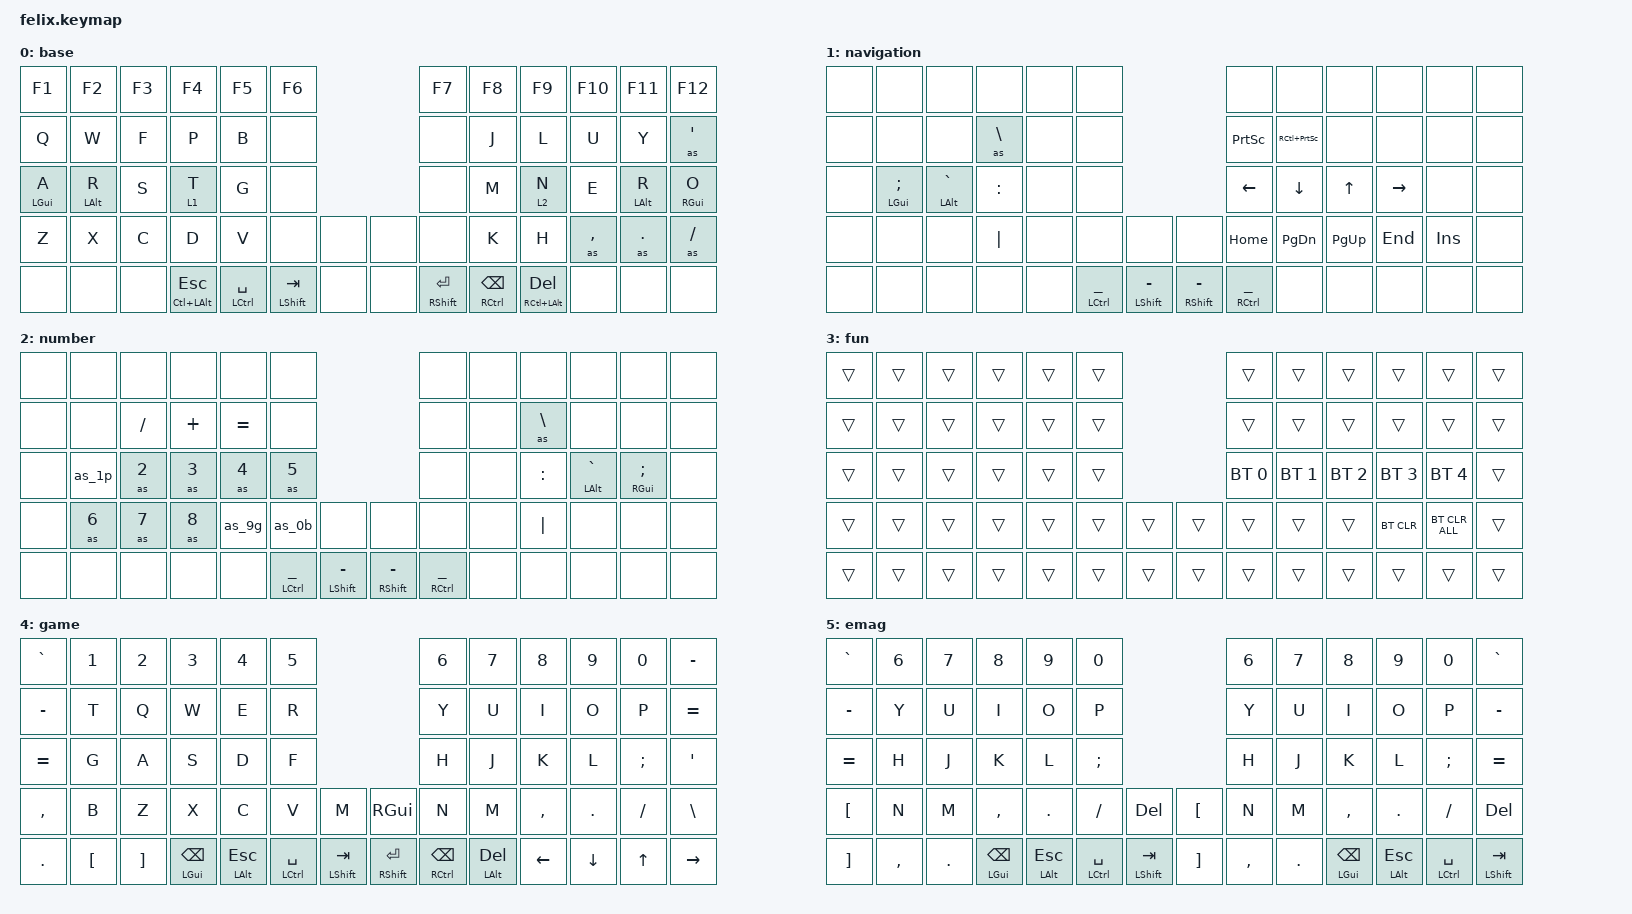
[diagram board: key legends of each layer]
#include <dt-bindings/zmk/mouse.h>
#include <behaviors.dtsi>
#include <dt-bindings/zmk/bt.h>
#include <dt-bindings/zmk/keys.h>

&caps_word { continue-list = <UNDERSCORE MINUS>; };

&lt {
    tapping-term-ms = <150>;
    quick-tap-ms = <200>;
    flavor = "balanced";
    require-prior-idle-ms = <125>;
};

&mt {
    tapping-term-ms = <150>;
    quick-tap-ms = <200>;
    flavor = "balanced";
    require-prior-idle-ms = <125>;
};

/ {
    behaviors {
        hml: home_row_mod_left {
            display-name = "Home Row Mod (Left)";
            compatible = "zmk,behavior-hold-tap";
            #binding-cells = <2>;
            bindings = <&kp>, <&kp>;

            tapping-term-ms = <280>;
            quick-tap-ms = <175>;
            require-prior-idle-ms = <150>;
            flavor = "balanced";
            hold-trigger-on-release;
            hold-trigger-key-positions = <5 7 6 8 9 19 30 31 18 17 16 15 26 28 27 29 37 36 35 34 33 32>;
        };

        hmr: home_row_mod_right {
            display-name = "Home Row Mod (Right)";
            compatible = "zmk,behavior-hold-tap";
            bindings = <&kp>, <&kp>;

            #binding-cells = <2>;
            tapping-term-ms = <280>;
            quick-tap-ms = <175>;
            require-prior-idle-ms = <150>;
            flavor = "balanced";
            hold-trigger-on-release;
            hold-trigger-key-positions = <0 1 2 3 4 14 13 12 11 10 20 21 22 23 24 25 32 33 34 35 36 37>;
        };

        hll: home_row_layer_tap_left {
            compatible = "zmk,behavior-hold-tap";
            bindings = <&mo>, <&kp>;

            #binding-cells = <2>;
            tapping-term-ms = <280>;
            quick-tap-ms = <175>;
            require-prior-idle-ms = <150>;
            flavor = "balanced";
            hold-trigger-on-release;
            hold-trigger-key-positions = <5 6 7 9 31 19 29 18 17 8 16 15 26 27 28 30 37 36 35 34 33 32>;
        };

        hlr: home_row_layer_tap_right {
            compatible = "zmk,behavior-hold-tap";
            bindings = <&mo>, <&kp>;

            #binding-cells = <2>;
            tapping-term-ms = <280>;
            quick-tap-ms = <175>;
            require-prior-idle-ms = <150>;
            flavor = "balanced";
            hold-trigger-on-release;
            hold-trigger-key-positions = <4 3 2 1 0 20 10 11 21 12 13 14 23 22 24 25 32 33 34 35 36 37>;
        };

        mm_cq: mod_morph_cmma_qmark {
            display-name = "Comma-Question Mark";
            compatible = "zmk,behavior-mod-morph";
            #binding-cells = <0>;
            bindings = <&kp COMMA>, <&kp QMARK>;

            mods = <(MOD_LSFT|MOD_RSFT)>;
        };

        mm_cs: mod_morph_colon_semi {
            display-name = "Colon-Semi";
            compatible = "zmk,behavior-mod-morph";
            #binding-cells = <0>;
            bindings = <&kp COLON>, <&kp SEMI>;

            mods = <(MOD_LSFT|MOD_RSFT)>;
        };

        mm_de: mod_morph_dot_excl {
            display-name = "Period-Exclamation Mark";
            compatible = "zmk,behavior-mod-morph";
            #binding-cells = <0>;
            bindings = <&kp DOT>, <&kp EXCL>;

            mods = <(MOD_LSFT|MOD_RSFT)>;
        };

        mm_ft: mod_morph_fslh_tild {
            display-name = "Forward Slash-Tilde";
            compatible = "zmk,behavior-mod-morph";
            #binding-cells = <0>;
            bindings = <&kp FSLH>, <&kp TILDE>;

            mods = <(MOD_LSFT|MOD_RSFT)>;
        };

        mm_1p: mod_morph_n1_pipe {
            display-name = "N1-Pipe";
            compatible = "zmk,behavior-mod-morph";
            #binding-cells = <0>;
            bindings = <&kp N1>, <&kp PIPE>;

            mods = <(MOD_LSFT|MOD_RSFT)>;
        };

        mm_9g: mod_morph_n9_grave {
            display-name = "N9-Grave";
            compatible = "zmk,behavior-mod-morph";
            #binding-cells = <0>;
            bindings = <&kp N9>, <&kp GRAVE>;

            mods = <(MOD_LSFT|MOD_RSFT)>;
        };

        mm_0b: mod_morph_n0_bslh {
            display-name = "N0-Back Slash";
            compatible = "zmk,behavior-mod-morph";
            #binding-cells = <0>;
            bindings = <&kp N0>, <&kp BSLH>;

            mods = <(MOD_LSFT|MOD_RSFT)>;
        };

        mm_ll: mod_morph_lpar_lt {
            display-name = "Left Parentheses-Less Than";
            compatible = "zmk,behavior-mod-morph";
            bindings = <&kp LPAR>, <&kp LT>;

            #binding-cells = <0>;
            mods = <(MOD_LSFT|MOD_RSFT)>;
        };

        mm_rg: mod_morph_rpar_gt {
            display-name = "Right Parentheses-Greater Than";
            compatible = "zmk,behavior-mod-morph";
            bindings = <&kp RPAR>, <&kp GT>;

            #binding-cells = <0>;
            mods = <(MOD_LSFT|MOD_RSFT)>;
        };

        ht_as: hold_tap_autoshift {
            compatible = "zmk,behavior-hold-tap";
            bindings = <&sh>, <&kp>;

            #binding-cells = <2>;
            tapping-term-ms = <150>;
            quick-tap-ms = <0>;
            flavor = "tap-preferred";
        };

        ht_cq: hold_tap_cmma_qmark {
            display-name = "Comma-Question Mark (Hold-Tap)";
            compatible = "zmk,behavior-hold-tap";
            #binding-cells = <2>;
            bindings = <&kp>, <&mm_cq>;

            tapping-term-ms = <150>;
            quick-tap-ms = <0>;
            flavor = "tap-preferred";
        };

        ht_cs: hold_tap_colon_semi {
            display-name = "Colon-Semi (Hold-Tap)";
            compatible = "zmk,behavior-hold-tap";
            #binding-cells = <2>;
            bindings = <&kp>, <&mm_cs>;

            tapping-term-ms = <150>;
            quick-tap-ms = <0>;
            flavor = "tap-preferred";
        };

        ht_de: hold_tap_dot_excl {
            display-name = "Period-Exclamation Mark (Hold-Tap)";
            compatible = "zmk,behavior-hold-tap";
            #binding-cells = <2>;
            bindings = <&kp>, <&mm_de>;

            tapping-term-ms = <150>;
            quick-tap-ms = <0>;
            flavor = "tap-preferred";
        };

        ht_ft: hold_tap_fslh_tild {
            display-name = "Forward Slash-Tilde (Hold-Tap)";
            compatible = "zmk,behavior-hold-tap";
            #binding-cells = <2>;
            bindings = <&kp>, <&mm_ft>;

            tapping-term-ms = <150>;
            quick-tap-ms = <0>;
            flavor = "tap-preferred";
        };

        ht_1p: hold_tap_n1_pipe {
            display-name = "N1-Pipe (Hold-Tap)";
            compatible = "zmk,behavior-hold-tap";
            #binding-cells = <2>;
            bindings = <&kp>, <&mm_1p>;

            tapping-term-ms = <150>;
            quick-tap-ms = <0>;
            flavor = "tap-preferred";
        };

        ht_9g: hold_tap_n9_grave {
            display-name = "N9-Grave (Hold-Tap)";
            compatible = "zmk,behavior-hold-tap";
            #binding-cells = <2>;
            bindings = <&kp>, <&mm_9g>;

            tapping-term-ms = <150>;
            quick-tap-ms = <0>;
            flavor = "tap-preferred";
        };

        ht_0b: hold_tap_n0_bslh {
            display-name = "N0-Back Slash (Hold-Tap)";
            compatible = "zmk,behavior-hold-tap";
            #binding-cells = <2>;
            bindings = <&kp>, <&mm_0b>;

            tapping-term-ms = <150>;
            quick-tap-ms = <0>;
            flavor = "tap-preferred";
        };

        ht_ll: hold_tap_lpar_lt {
            display-name = "Left Parentheses-Less Than (Hold-Tap)";
            compatible = "zmk,behavior-hold-tap";
            #binding-cells = <2>;
            bindings = <&kp>, <&mm_ll>;

            tapping-term-ms = <150>;
            quick-tap-ms = <0>;
            flavor = "tap-preferred";
        };

        ht_rg: hold_tap_rpar_gt {
            display-name = "Right Parentheses-Greater Than (Hold-Tap)";
            compatible = "zmk,behavior-hold-tap";
            #binding-cells = <2>;
            bindings = <&kp>, <&mm_rg>;

            tapping-term-ms = <150>;
            quick-tap-ms = <0>;
            flavor = "tap-preferred";
        };
    };

    macros {
        as: autoshift {
            display-name = "Autoshift";
            compatible = "zmk,behavior-macro-one-param";
            #binding-cells = <1>;
            bindings =
                <&macro_press>,
                <&macro_param_1to1 &macro_param_1to2 &ht_as MACRO_PLACEHOLDER MACRO_PLACEHOLDER>,
                <&macro_pause_for_release>,
                <&macro_release>,
                <&macro_param_1to1 &macro_param_1to2 &ht_as MACRO_PLACEHOLDER MACRO_PLACEHOLDER>;
        };

        sh: shifted_keypress {
            display-name = "Shifted Keypress";
            compatible = "zmk,behavior-macro-one-param";
            #binding-cells = <1>;
            bindings =
                <&macro_press>,
                <&kp LSHFT &macro_param_1to1 &kp MACRO_PLACEHOLDER>,
                <&macro_pause_for_release>,
                <&macro_release>,
                <&macro_param_1to1 &kp MACRO_PLACEHOLDER &kp LSHFT>;
        };

        as_cq: autoshift_cmma_qmark {
            display-name = "Comma-Question Mark (Autoshift)";
            compatible = "zmk,behavior-macro";
            #binding-cells = <0>;
            bindings =
                <&macro_press>,
                <&ht_cq QMARK 0>,
                <&macro_pause_for_release>,
                <&macro_release>,
                <&ht_cq QMARK 0>;
        };

        as_cs: autoshift_colon_semi {
            display-name = "Colon-Semi (Autoshift)";
            compatible = "zmk,behavior-macro";
            #binding-cells = <0>;
            bindings =
                <&macro_press>,
                <&ht_cs SEMI 0>,
                <&macro_pause_for_release>,
                <&macro_release>,
                <&ht_cs SEMI 0>;
        };

        as_de: autoshift_dot_excl {
            display-name = "Period-Exclamation Mark (Autoshift)";
            compatible = "zmk,behavior-macro";
            #binding-cells = <0>;
            bindings =
                <&macro_press>,
                <&ht_de EXCL 0>,
                <&macro_pause_for_release>,
                <&macro_release>,
                <&ht_de EXCL 0>;
        };

        as_ft: autoshift_fslh_tild {
            display-name = "Forward Slash-Tilde (Autoshift)";
            compatible = "zmk,behavior-macro";
            #binding-cells = <0>;
            bindings =
                <&macro_press>,
                <&ht_ft TILDE 0>,
                <&macro_pause_for_release>,
                <&macro_release>,
                <&ht_ft TILDE 0>;
        };

        as_1p: autoshift_n1_pipe {
            display-name = "N1-Pipe (Autoshift)";
            compatible = "zmk,behavior-macro";
            #binding-cells = <0>;
            bindings =
                <&macro_press>,
                <&ht_1p PIPE 0>,
                <&macro_pause_for_release>,
                <&macro_release>,
                <&ht_1p PIPE 0>;
        };

        as_9g: autoshift_n9_grave {
            display-name = "N9-Grave (Autoshift)";
            compatible = "zmk,behavior-macro";
            #binding-cells = <0>;
            bindings =
                <&macro_press>,
                <&ht_9g GRAVE 0>,
                <&macro_pause_for_release>,
                <&macro_release>,
                <&ht_9g GRAVE 0>;
        };

        as_0b: autoshift_n0_bslh {
            display-name = "N0-Back Slash (Autoshift)";
            compatible = "zmk,behavior-macro";
            #binding-cells = <0>;
            bindings =
                <&macro_press>,
                <&ht_0b BSLH 0>,
                <&macro_pause_for_release>,
                <&macro_release>,
                <&ht_0b BSLH 0>;
        };

        as_ll: as_ll {
            compatible = "zmk,behavior-macro";
            display-name = "Left Parentheses-Lest Than (Autoshift)";
            #binding-cells = <0>;
            bindings =
                <&macro_press>,
                <&ht_ll LT 0>,
                <&macro_pause_for_release>,
                <&macro_release>,
                <&ht_ll LT 0>;
        };

        as_rg: autoshift_rpar_gt {
            compatible = "zmk,behavior-macro";
            display-name = "Right Parentheses-Greater Than (Autoshift)";
            #binding-cells = <0>;
            bindings =
                <&macro_press>,
                <&ht_rg GT 0>,
                <&macro_pause_for_release>,
                <&macro_release>,
                <&ht_rg GT 0>;
        };

        qu: qu {
            display-name = "qu";
            compatible = "zmk,behavior-macro";
            #binding-cells = <0>;
            bindings = <&kp Q &kp U>;
        };
    };

    combos {
        compatible = "zmk,combos";

        base {
            bindings = <&to 0>;
            key-positions = <0 1>;
        };

        game {
            bindings = <&to 4>;
            key-positions = <4 5>;
            layers = <0>;
        };

        btctrl_l {
            bindings = <&sl 3>;
            key-positions = <3 2>;
        };

        btctrl_r {
            bindings = <&sl 3>;
            key-positions = <8 9>;
        };

        qu {
            bindings = <&qu>;
            key-positions = <13 14>;
            layers = <0>;
        };

        lbrc {
            bindings = <&kp LBRC>;
            key-positions = <13 25>;
            layers = <0>;
        };

        lbkt {
            bindings = <&kp LBKT>;
            key-positions = <14 26>;
            layers = <0>;
        };

        lpar {
            bindings = <&kp LPAR>;
            key-positions = <15 27>;
            layers = <0>;
        };

        lt {
            bindings = <&kp LT>;
            key-positions = <16 28>;
            layers = <0>;
        };

        gt {
            bindings = <&kp GT>;
            key-positions = <19 31>;
            layers = <0>;
        };

        rpar {
            bindings = <&kp RPAR>;
            key-positions = <20 32>;
            layers = <0>;
        };

        rbkt {
            bindings = <&kp RBKT>;
            key-positions = <21 33>;
            layers = <0>;
        };

        rbrc {
            bindings = <&kp RBRC>;
            key-positions = <22 34>;
            layers = <0>;
        };

        launcher_l {
            bindings = <&kp LG(SPACE)>;
            key-positions = <25 27>;
        };

        launcher_r {
            bindings = <&kp RG(SPACE)>;
            key-positions = <32 34>;
        };

        lpipe {
            bindings = <&kp PIPE>;
            key-positions = <28 40>;
        };

        rpipe {
            bindings = <&kp PIPE>;
            key-positions = <31 45>;
        };

        lbslh {
            bindings = <&kp BSLH>;
            key-positions = <27 39>;
        };

        rbslh {
            bindings = <&kp BSLH>;
            key-positions = <32 46>;
        };
    };

    keymap {
        compatible = "zmk,keymap";

        base {
            display-name = "base";
            bindings = <
&kp F1       &kp F2       &kp F3  &kp F4            &kp F5           &kp F6                           &kp F7         &kp F8          &kp F9            &kp F10    &kp F11      &kp F12
&kp Q        &kp W        &kp F   &kp P             &kp B            &none                            &none          &kp J           &kp L             &kp U      &kp Y        &as APOS
&hml LGUI A  &hml LALT R  &kp S   &hll 1 T          &kp G            &none                            &none          &kp M           &hlr 2 N          &kp E      &hmr LALT R  &hmr RGUI O
&kp Z        &kp X        &kp C   &kp D             &kp V            &none          &none      &none  &none          &kp K           &kp H             &as COMMA  &as DOT      &as FSLH
&none        &none        &none   &mt LC(LALT) ESC  &mt LCTRL SPACE  &mt LSHFT TAB  &none      &none  &mt RSHFT RET  &mt RCTRL BSPC  &mt RC(LALT) DEL  &none      &none        &none
            >;
        };

        nav {
            display-name = "navigation";
            bindings = <
&none  &none           &none            &none      &none  &none                                                  &none            &none          &none      &none      &none    &none
&none  &none           &none            &as BSLH   &none  &none                                                  &kp PSCRN        &kp RC(PSCRN)  &none      &none      &none    &none
&none  &hml LGUI SEMI  &hml LALT GRAVE  &kp COLON  &none  &none                                                  &kp LEFT         &kp DOWN       &kp UP     &kp RIGHT  &none    &none
&none  &none           &none            &kp PIPE   &none  &none            &none                &none            &kp HOME         &kp PG_DN      &kp PG_UP  &kp END    &kp INS  &none
&none  &none           &none            &none      &none  &mt LCTRL UNDER  &mt LSHFT MINUS      &mt RSHFT MINUS  &mt RCTRL UNDER  &none          &none      &none      &none    &none
            >;
        };

        num {
            display-name = "number";
            bindings = <
&none  &none   &none     &none     &none      &none                                                  &none            &none  &none      &none            &none          &none
&none  &none   &kp FSLH  &kp PLUS  &kp EQUAL  &none                                                  &none            &none  &as BSLH   &none            &none          &none
&none  &as_1p  &as N2    &as N3    &as N4     &as N5                                                 &none            &none  &kp COLON  &hmr LALT GRAVE  &mt RGUI SEMI  &none
&none  &as N6  &as N7    &as N8    &as_9g     &as_0b           &none                &none            &none            &none  &kp PIPE   &none            &none          &none
&none  &none   &none     &none     &none      &mt LCTRL UNDER  &mt LSHFT MINUS      &mt RSHFT MINUS  &mt RCTRL UNDER  &none  &none      &none            &none          &none
            >;
        };

        fun {
            display-name = "fun";
            bindings = <
&trans  &trans  &trans  &trans  &trans  &trans                      &trans        &trans        &trans        &trans        &trans          &trans
&trans  &trans  &trans  &trans  &trans  &trans                      &trans        &trans        &trans        &trans        &trans          &trans
&trans  &trans  &trans  &trans  &trans  &trans                      &bt BT_SEL 0  &bt BT_SEL 1  &bt BT_SEL 2  &bt BT_SEL 3  &bt BT_SEL 4    &trans
&trans  &trans  &trans  &trans  &trans  &trans  &trans      &trans  &trans        &trans        &trans        &bt BT_CLR    &bt BT_CLR_ALL  &trans
&trans  &trans  &trans  &trans  &trans  &trans  &trans      &trans  &trans        &trans        &trans        &trans        &trans          &trans
            >;
        };

        game_l {
            display-name = "game";
            bindings = <
&kp GRAVE  &kp N1    &kp N2    &kp N3         &kp N4        &kp N5                                             &kp N6          &kp N7        &kp N8     &kp N9    &kp N0    &kp MINUS
&kp MINUS  &kp T     &kp Q     &kp W          &kp E         &kp R                                              &kp Y           &kp U         &kp I      &kp O     &kp P     &kp EQUAL
&kp EQUAL  &kp G     &kp A     &kp S          &kp D         &kp F                                              &kp H           &kp J         &kp K      &kp L     &kp SEMI  &kp APOS
&kp COMMA  &kp B     &kp Z     &kp X          &kp C         &kp V            &kp M              &kp RGUI       &kp N           &kp M         &kp COMMA  &kp DOT   &kp FSLH  &kp BSLH
&kp DOT    &kp LBKT  &kp RBKT  &mt LGUI BSPC  &mt LALT ESC  &mt LCTRL SPACE  &mt LSHFT TAB      &mt RSHFT RET  &mt RCTRL BSPC  &mt LALT DEL  &kp LEFT   &kp DOWN  &kp UP    &kp RIGHT
            >;
        };

        game_r {
            display-name = "emag";
            bindings = <
&kp GRAVE  &kp N6     &kp N7   &kp N8         &kp N9        &kp N0                                        &kp N6     &kp N7   &kp N8         &kp N9        &kp N0           &kp GRAVE
&kp MINUS  &kp Y      &kp U    &kp I          &kp O         &kp P                                         &kp Y      &kp U    &kp I          &kp O         &kp P            &kp MINUS
&kp EQUAL  &kp H      &kp J    &kp K          &kp L         &kp SEMI                                      &kp H      &kp J    &kp K          &kp L         &kp SEMI         &kp EQUAL
&kp LBKT   &kp N      &kp M    &kp COMMA      &kp DOT       &kp FSLH         &kp DEL            &kp LBKT  &kp N      &kp M    &kp COMMA      &kp DOT       &kp FSLH         &kp DEL
&kp RBKT   &kp COMMA  &kp DOT  &mt LGUI BSPC  &mt LALT ESC  &mt LCTRL SPACE  &mt LSHFT TAB      &kp RBKT  &kp COMMA  &kp DOT  &mt LGUI BSPC  &mt LALT ESC  &mt LCTRL SPACE  &mt LSHFT TAB
            >;
        };
    };
};
